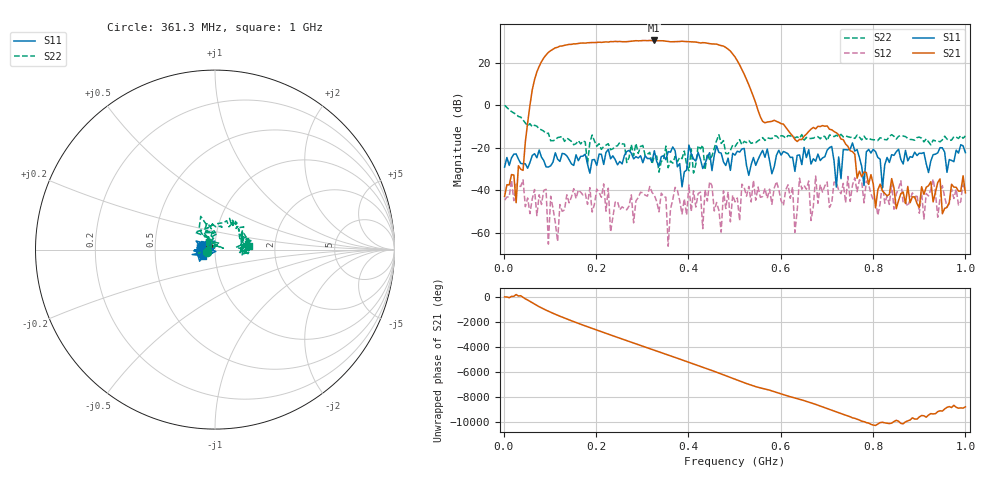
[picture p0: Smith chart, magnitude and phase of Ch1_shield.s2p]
!Keysight Technologies N9923A: A.12.45
!Date: Friday, 10 October 2025 02:31:08
!Timezone: (UTC+08:00) Kuala Lumpur, Singapore
!Model: N9923A
!Serial: MY61181427
!GPS Latitude:
!GPS Longitude:
!GPS TimeStamp: 0001-01-01 00:00:00Z
!GPS Seconds Since Last Read: 0
!CHECKSUM:1913947000
!Correction: S11(ON U?)S21(ON U?)S12(ON U?)S22(ON U?)
!S2P File: Measurements:S11,S21,S12,S22:
# Hz S DB R 50
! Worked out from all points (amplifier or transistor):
!   201 points, 2 MHz to 1 GHz, reference 50 ohm
!   highest |S21| = 30.4 dB at 326.4 MHz (marker M1)
!   |S21| within 3 dB of that: 118.6 MHz to 478.7 MHz (360.2 MHz wide, 121 % of centre)
!   unconditionally stable (mu >= 1): start of sweep to end of sweep
!   at 166.7 MHz: K = 2.01, MAG = 29.2 dB, |S12| = -40.8 dB
!   at 501 MHz: K = 6.79, MAG = 22.7 dB, |S12| = -45.4 dB
!   at 1 GHz: K = 6296.51, MAG = -41.0 dB, |S12| = -41.2 dB
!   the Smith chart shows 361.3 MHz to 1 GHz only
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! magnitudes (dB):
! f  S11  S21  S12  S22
! 2 MHz  -29.1  -42.8  -44.6  -0.1
! 26.95 MHz  -22.9  -45.8  -37.0  -4.2
! 81.84 MHz  -24.4  20.4  -46.6  -11.6
! 91.82 MHz  -29.0  23.6  -39.5  -13.4
! 96.81 MHz  -29.1  24.8  -65.2  -13.1
! 101.8 MHz  -28.4  25.6  -42.7  -16.7
! 116.8 MHz  -25.3  27.2  -64.0  -15.2
! 171.7 MHz  -23.9  29.2  -42.1  -16.7
! 226.6 MHz  -20.7  29.6  -39.0  -18.1
! 231.5 MHz  -25.2  29.8  -59.5  -20.9
! 326.4 MHz  -21.4  30.4  -42.3  -23.9
! 336.3 MHz  -28.7  30.2  -50.1  -31.4
! 351.3 MHz  -25.6  30.0  -43.2  -19.2
! 356.3 MHz  -21.8  29.9  -66.2  -29.4
! 371.3 MHz  -21.4  29.8  -38.6  -24.0
! 386.2 MHz  -38.4  30.0  -51.1  -25.1
! 401.2 MHz  -18.7  29.9  -37.4  -30.8
! 501 MHz  -23.4  22.6  -45.4  -19.5
! 560.9 MHz  -21.2  -7.6  -42.9  -15.2
! 670.7 MHz  -25.1  -10.5  -47.5  -15.5
! 835.3 MHz  -26.9  -41.9  -46.6  -14.6
! 1 GHz  -22.3  -41.1  -41.2  -14.5
